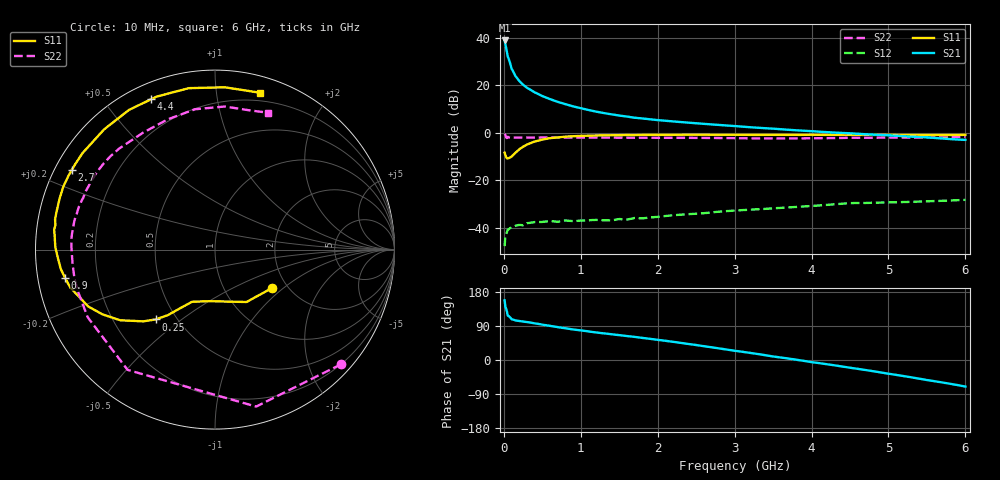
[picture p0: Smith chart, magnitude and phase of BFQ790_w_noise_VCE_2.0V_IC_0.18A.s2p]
! Infineon Technologies  Discrete & RF Semiconductors
! BFQ790
! VCE =  2.0 V,  IC = 0.18 A
! Common Emitter S-Parameters:  May 2015
# GHz  S  MA  R  50
!  f  S11  S21  S12  S22
! GHz  MAG  ANG  MAG  ANG  MAG  ANG  MAG  ANG
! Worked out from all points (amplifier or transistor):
!   77 points, 10 MHz to 6 GHz, reference 50 ohm
!   highest |S21| = 39.0 dB at 10 MHz (marker M1)
!   |S21| within 3 dB of that: start of sweep to 29 MHz
!   unconditionally stable (mu >= 1): 649.5 MHz to 752.3 MHz; 893.2 MHz to end of sweep
!   at 130 MHz: K = 0.69, MSG = 32.4 dB, |S12| = -39.4 dB
!   at 2.2 GHz: K = 1.24, MAG = 16.8 dB, |S12| = -34.7 dB
!   at 6 GHz: K = 1.11, MAG = 10.6 dB, |S12| = -28.2 dB
!   lowest NFmin = 3.17 dB at 1.5 GHz
!   S11 on the Smith chart (normalised r, x): 10 MHz: 1.67, -0.84; 250 MHz: 0.38, -0.40; 900 MHz: 0.08, -0.09; 2.7 GHz: 0.05, +0.26; 4.4 GHz: 0.07, +0.66; 6 GHz: 0.13, +1.32
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0.01  0.3835 -33.9  88.79 157.4  0.0041 69.5  0.9493 -42.3
0.02  0.3407 -59.0  73.39 140.2  0.0067 53.3  0.9041 -75.3
0.05  0.289 -96.2  41.13 117.4  0.0091 24.2  0.8284 -126.0
0.1  0.3174 -113.7  22.65 107.6  0.0102 19.2  0.8033 -152.0
0.15  0.3798 -120.7  15.86 104.6  0.011 17.5  0.7978 -162.4
0.2  0.4497 -125.7  12.45 102.9  0.0115 19.6  0.7996 -167.9
0.25  0.5112 -130.4  10.38 101.5  0.0113 16.2  0.7974 -171.6
0.3  0.5664 -135.1  8.945 100.1  0.0125 13.6  0.7974 -174.4
0.4  0.6578 -143.2  7.16 96.7  0.0132 13.1  0.798 -178.5
0.5  0.7235 -150.1  5.983 93.3  0.0133 10.0  0.8005 178.5
0.6  0.7747 -155.9  5.158 90.1  0.0139 11.8  0.8024 176.0
0.7  0.803 -161.1  4.51 86.8  0.0134 14.2  0.8017 173.7
0.9  0.8506 -169.4  3.623 80.6  0.0138 8.7  0.7997 170.2
1.1  0.8737 -175.9  3.038 75.4  0.0144 9.8  0.7984 166.9
1.5  0.8969 174.9  2.324 65.6  0.0153 12.4  0.7922 161.2
2.1  0.9091 163.7  1.803 50.7  0.0177 12.9  0.7878 152.3
2.7  0.9128 151.0  1.509 33.6  0.0211 7.6  0.782 140.3
3.1  0.91 141.7  1.356 21.7  0.0236 3.1  0.7708 131.1
4.1  0.9111 119.5  1.061 -8.3  0.0296 -11.2  0.7729 107.5
4.4  0.9102 113.0  0.998 -17.2  0.0322 -17.0  0.7836 100.4
5.1  0.9067 96.7  0.87 -39.3  0.0346 -31.5  0.7972 84.1
6  0.9095 73.9  0.712 -70.1  0.0389 -52.5  0.818 68.8
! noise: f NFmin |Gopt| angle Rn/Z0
0.45  5.2  0.46  140  0.5
0.9  3.66  0.59  168  0.16
1.5  3.17  0.7  -173  0.09
1.8  3.24  0.71  -167  0.1
2.6  3.51  0.74  -152  0.25
3.5  4.07  0.82  -136  0.56
